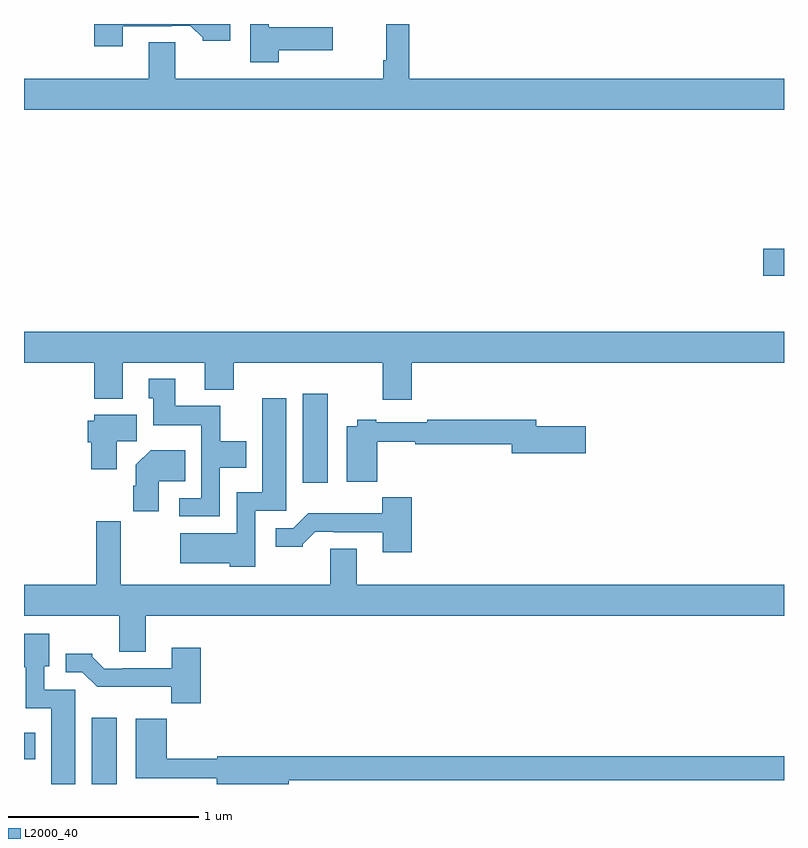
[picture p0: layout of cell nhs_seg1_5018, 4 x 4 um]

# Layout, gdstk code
import gdstk
lib = gdstk.Library(unit=1e-6, precision=1e-09)
def R(c, l, rs):  # rectangles x0, y0, x1, y1
    for r in rs: c.add(gdstk.rectangle(r[:2], r[2:], *l))
def P(c, l, *ps):  # polygons
    for p in ps: c.add(gdstk.Polygon(p, *l))
L2000_40 = (2000, 40)

nhs_seg1_5018 = lib.new_cell('nhs_seg1_5018')
R(nhs_seg1_5018, L2000_40, [(383.357,532.199,383.488,532.549), (383,532.328,383.059,532.468), (384.467,533.784,384.598,534.253), (386.892,534.874,387,535.016)])
P(nhs_seg1_5018, L2000_40, [(387,535.912),(385.028,535.912),(385.028,536.199),(384.907,536.199),(384.907,536.008),(384.892,536.008),(384.892,535.912),(383.797,535.912),(383.797,536.102),(383.657,536.102),(383.657,535.912),(383,535.912),(383,535.748),(387,535.748)],
  [(383.521,536.187),(383.777,536.187),(383.777,536.19),(383.876,536.19),(383.94,536.126),(383.94,536.111),(384.085,536.111),(384.085,536.199),(383.369,536.199),(383.369,536.082),(383.521,536.082)],
  [(384.341,536.06),(384.625,536.06),(384.625,536.182),(384.288,536.182),(384.288,536.199),(384.192,536.199),(384.192,535.998),(384.341,535.998)],
  [(385.04,534.416),(387,534.416),(387,534.58),(383,534.58),(383,534.416),(383.369,534.416),(383.369,534.227),(383.521,534.227),(383.521,534.416),(383.951,534.416),(383.951,534.275),(384.104,534.275),(384.104,534.416),(384.887,534.416),(384.887,534.222),(385.04,534.222)],
  [(384.03,533.864),(384.169,533.864),(384.169,534.004),(384.033,534.004),(384.033,534.19),(383.797,534.19),(383.797,534.331),(383.657,534.331),(383.657,534.228),(383.681,534.228),(383.681,534.086),(383.934,534.086),(383.934,533.703),(383.817,533.703),(383.817,533.607),(384.03,533.607)],
  [(384.216,533.637),(384.379,533.637),(384.379,534.229),(384.254,534.229),(384.254,533.734),(384.12,533.734),(384.12,533.518),(383.823,533.518),(383.823,533.36),(384.084,533.36),(384.084,533.342),(384.216,533.342)],
  [(383.488,534.004),(383.593,534.004),(383.593,534.142),(383.37,534.142),(383.37,534.111),(383.336,534.111),(383.336,533.997),(383.354,533.997),(383.354,533.856),(383.488,533.856)],
  [(384.86,534.001),(385.058,534.001),(385.058,533.986),(385.568,533.986),(385.568,533.939),(385.957,533.939),(385.957,534.081),(385.696,534.081),(385.696,534.115),(385.123,534.115),(385.123,534.102),(384.853,534.102),(384.853,534.115),(384.753,534.115),(384.753,534.082),(384.698,534.082),(384.698,533.789),(384.86,533.789)],
  [(383.71,533.792),(383.849,533.792),(383.849,533.956),(383.666,533.956),(383.588,533.878),(383.588,533.768),(383.576,533.768),(383.576,533.634),(383.71,533.634)],
  [(385.04,533.707),(384.885,533.707),(384.885,533.623),(384.496,533.623),(384.417,533.544),(384.324,533.544),(384.324,533.447),(384.468,533.447),(384.468,533.462),(384.532,533.526),(384.631,533.526),(384.631,533.523),(384.887,533.523),(384.887,533.418),(385.04,533.418)],
  [(383.641,533.084),(387,533.084),(387,533.248),(384.751,533.248),(384.751,533.438),(384.611,533.438),(384.611,533.248),(383.509,533.248),(383.509,533.581),(383.38,533.581),(383.38,533.248),(383,533.248),(383,533.084),(383.501,533.084),(383.501,532.894),(383.641,532.894)],
  [(383.269,532.695),(383.106,532.695),(383.106,532.818),(383.134,532.818),(383.134,532.99),(383,532.99),(383,532.814),(383.01,532.814),(383.01,532.598),(383.144,532.598),(383.144,532.199),(383.269,532.199)],
  [(383.93,532.915),(383.777,532.915),(383.777,532.809),(383.521,532.809),(383.521,532.806),(383.422,532.806),(383.358,532.87),(383.358,532.885),(383.219,532.885),(383.219,532.788),(383.307,532.788),(383.386,532.71),(383.775,532.71),(383.775,532.625),(383.93,532.625)],
  [(384.394,532.218),(387,532.218),(387,532.346),(384.018,532.346),(384.018,532.331),(383.75,532.331),(383.75,532.543),(383.588,532.543),(383.588,532.23),(384.014,532.23),(384.014,532.199),(384.394,532.199)])

lib.write_gds('nhs_seg1_5018.gds')
